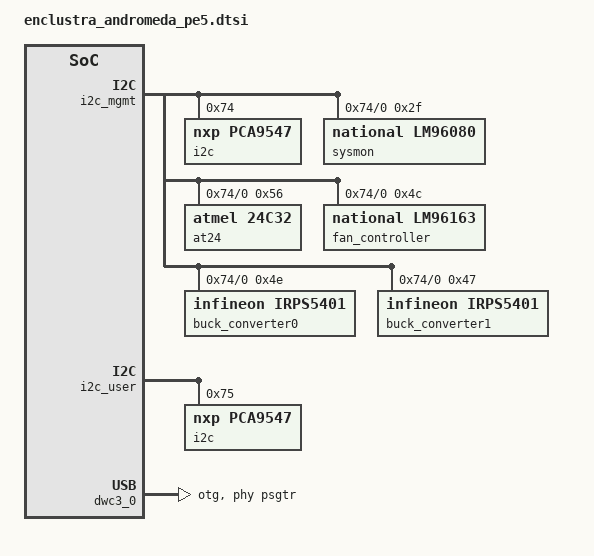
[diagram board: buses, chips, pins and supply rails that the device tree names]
#include <dt-bindings/phy/phy.h>

/ {
	aliases {
		mmc0 = &sdhci0;
		mmc1 = &sdhci1;
	};
};

&i2c_mgmt {
	i2c@74 {
		compatible = "nxp,pca9547";
		reg = <0x74>;
		#address-cells = <1>;
		#size-cells = <0>;

		i2c@0 {
			reg = <0>;
			#address-cells = <1>;
			#size-cells = <0>;
			sysmon: lm96080@2f {
				compatible = "national,lm96080", "lm80";
				reg = <0x2f >;
			};
			ioexpander0: gpio@20 {
				status = "disabled";
				compatible = "nxp,pcal6416";
				reg = <0x20>;
				gpio-controller;
				#gpio-cells = <2>;
			};
			ioexpander1: gpio@21 {
				status = "disabled";
				compatible = "nxp,pcal6416";
				reg = <0x21>;
				gpio-controller;
				#gpio-cells = <2>;
			};
			at24: eeprom@56 {
				compatible = "atmel,24c32"; /* size: 32 kbit = 4 kiB = 4096 bytes */
				reg = <0x56>;
				pagesize = <32>;
				size = <4096>;
			};
			fan_controller: fan_controller@4c {
				compatible = "national,lm96163";
				reg = <0x4c>;
			};
			buck_converter0: irps5401@4e {
					compatible = "infineon,irps5401", "pmbus";
					reg = <0x4e>;
			};
			buck_converter1: irps5401@47 {
					compatible = "infineon,irps5401", "pmbus";
					reg = <0x47>;
			};
		};
		i2c@2 {
			reg = <2>;
			#address-cells = <1>;
			#size-cells = <0>;
			ioexpander2: gpio@20 {
				status = "disabled";
				compatible = "nxp,pcal6416";
				reg = <0x20>;
				gpio-controller;
				#gpio-cells = <2>;
			};
		};
	};
};

&i2c_user {
	i2c@75 {
		compatible = "nxp,pca9547";
		reg = <0x75>;
		#address-cells = <1>;
		#size-cells = <0>;
	};
};

&sdhci1 {
	wp-inverted;
};

&dwc3_0 {
	dr_mode = "otg";
	phy-names = "usb3-phy";
	phys = <&psgtr 2 PHY_TYPE_USB3 0 2>;
	maximum-speed = "super-speed";
};

&zynqmp_dp_snd_pcm0 {
	status = "disabled";
};

&zynqmp_dp_snd_pcm1 {
	status = "disabled";
};

&zynqmp_dp_snd_card0 {
	status = "disabled";
};

&zynqmp_dp_snd_codec0 {
	status = "disabled";
};
